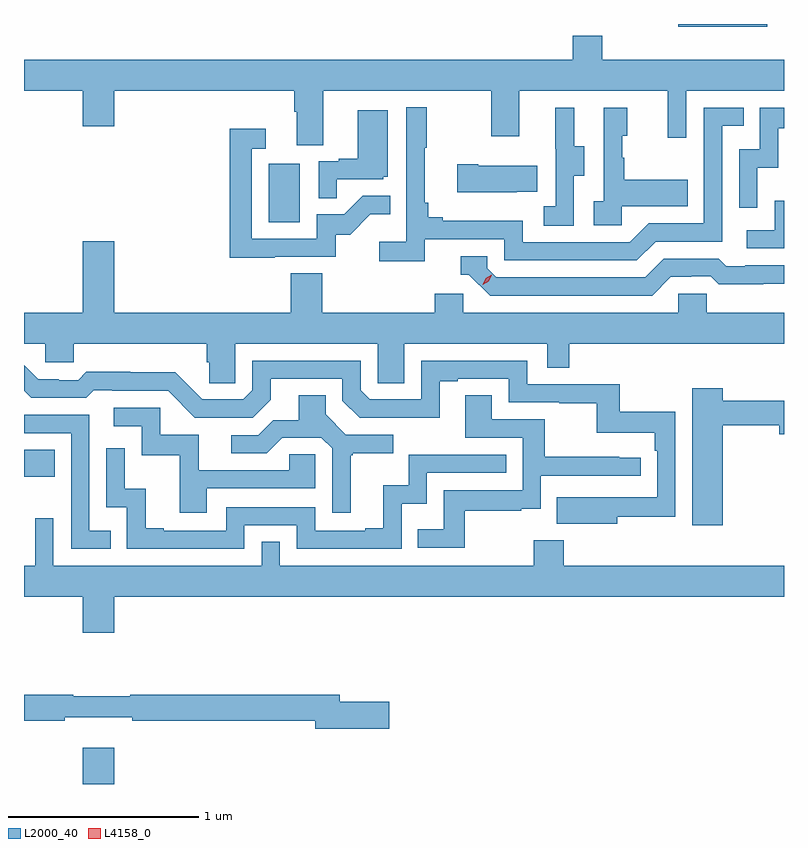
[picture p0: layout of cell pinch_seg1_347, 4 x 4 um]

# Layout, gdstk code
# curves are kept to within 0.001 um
import gdstk
lib = gdstk.Library(unit=1e-6, precision=1e-09)
def R(c, l, rs):  # rectangles x0, y0, x1, y1
    for r in rs: c.add(gdstk.rectangle(r[:2], r[2:], *l))
def P(c, l, *ps):  # polygons
    for p in ps: c.add(gdstk.Polygon(p, *l))
L2000_40 = (2000, 40)
L4158_0 = (4158, 0)

pinch_seg1_347 = lib.new_cell('pinch_seg1_347')
R(pinch_seg1_347, L2000_40, [(956.216,546.751,956.38,546.943), (955.906,548.369,956.069,548.509), (957.194,549.708,957.358,550.015), (959.349,550.736,959.818,550.751)])
P(pinch_seg1_347, L2000_40, [(957.481,550.4),(958.366,550.4),(958.366,550.161),(958.513,550.161),(958.513,550.4),(959.294,550.4),(959.294,550.152),(959.391,550.152),(959.391,550.4),(959.906,550.4),(959.906,550.564),(958.949,550.564),(958.949,550.688),(958.793,550.688),(958.793,550.564),(955.906,550.564),(955.906,550.4),(956.216,550.4),(956.216,550.212),(956.38,550.212),(956.38,550.4),(957.329,550.4),(957.329,550.288),(957.341,550.288),(957.341,550.114),(957.481,550.114)],
  [(958.016,549.618),(958.434,549.618),(958.434,549.507),(959.131,549.507),(959.23,549.606),(959.58,549.606),(959.58,550.215),(959.693,550.215),(959.693,550.311),(959.484,550.311),(959.484,549.702),(959.193,549.702),(959.094,549.603),(958.53,549.603),(958.53,549.715),(958.111,549.715),(958.111,549.734),(958.034,549.734),(958.034,549.811),(958.015,549.811),(958.015,550.099),(958.027,550.099),(958.027,550.312),(957.918,550.312),(957.918,549.604),(957.777,549.604),(957.777,549.502),(958.016,549.502)],
  [(959.766,549.995),(959.876,549.995),(959.876,550.203),(959.906,550.203),(959.906,550.311),(959.778,550.311),(959.778,550.092),(959.67,550.092),(959.67,549.783),(959.766,549.783)],
  [(959.052,549.791),(959.399,549.791),(959.399,549.931),(959.065,549.931),(959.065,550.046),(959.055,550.046),(959.055,550.164),(959.08,550.164),(959.08,550.309),(958.956,550.309),(958.956,549.818),(958.905,549.818),(958.905,549.693),(959.052,549.693)],
  [(958.8,549.952),(958.855,549.952),(958.855,550.107),(958.801,550.107),(958.801,550.309),(958.703,550.309),(958.703,550.095),(958.704,550.095),(958.704,549.791),(958.641,549.791),(958.641,549.688),(958.8,549.688)],
  [(957.551,549.933),(957.798,549.933),(957.798,549.948),(957.82,549.948),(957.82,550.297),(957.662,550.297),(957.662,550.042),(957.563,550.042),(957.563,550.029),(957.456,550.029),(957.456,549.835),(957.551,549.835)],
  [(957.227,549.525),(957.546,549.525),(957.546,549.642),(957.622,549.642),(957.729,549.749),(957.833,549.749),(957.833,549.848),(957.689,549.848),(957.591,549.75),(957.447,549.75),(957.447,549.621),(957.105,549.621),(957.105,550.095),(957.178,550.095),(957.178,550.201),(956.989,550.201),(956.989,549.52),(957.227,549.52)],
  [(958.499,549.869),(958.607,549.869),(958.607,550.006),(958.297,550.006),(958.297,550.014),(958.185,550.014),(958.185,549.866),(958.499,549.866)],
  [(959.906,549.82),(959.856,549.82),(959.856,549.666),(959.709,549.666),(959.709,549.57),(959.906,549.57)],
  [(957.018,549.068),(957.768,549.068),(957.768,548.86),(957.907,548.86),(957.907,549.068),(958.659,549.068),(958.659,548.941),(958.775,548.941),(958.775,549.068),(959.906,549.068),(959.906,549.232),(959.499,549.232),(959.499,549.33),(959.349,549.33),(959.349,549.232),(958.218,549.232),(958.218,549.33),(958.067,549.33),(958.067,549.232),(957.476,549.232),(957.476,549.44),(957.311,549.44),(957.311,549.232),(956.38,549.232),(956.38,549.607),(956.216,549.607),(956.216,549.232),(955.906,549.232),(955.906,549.068),(956.019,549.068),(956.019,548.97),(956.169,548.97),(956.169,549.068),(956.867,549.068),(956.867,548.97),(956.881,548.97),(956.881,548.86),(957.018,548.86)],
  [(959.311,549.42),(959.418,549.42),(959.418,549.423),(959.521,549.423),(959.563,549.381),(959.796,549.381),(959.796,549.383),(959.906,549.383),(959.906,549.48),(959.701,549.48),(959.701,549.477),(959.602,549.477),(959.563,549.516),(959.274,549.516),(959.175,549.417),(958.392,549.417),(958.344,549.465),(958.344,549.528),(958.205,549.528),(958.205,549.432),(958.248,549.432),(958.359,549.321),(959.212,549.321)],
  [(959.029,548.158),(959.334,548.158),(959.334,548.71),(959.041,548.71),(959.041,548.856),(958.554,548.856),(958.554,548.979),(957.996,548.979),(957.996,548.775),(957.726,548.775),(957.678,548.823),(957.678,548.979),(957.108,548.979),(957.108,548.823),(957.06,548.775),(956.844,548.775),(956.702,548.917),(956.466,548.917),(956.466,548.92),(956.233,548.92),(956.191,548.877),(956.088,548.877),(956.088,548.88),(955.981,548.88),(955.906,548.955),(955.906,548.822),(955.944,548.784),(956.233,548.784),(956.272,548.823),(956.371,548.823),(956.371,548.82),(956.664,548.82),(956.805,548.679),(957.111,548.679),(957.205,548.773),(957.205,548.883),(957.582,548.883),(957.582,548.769),(957.672,548.679),(958.093,548.678),(958.093,548.871),(958.189,548.871),(958.189,548.883),(958.458,548.883),(958.458,548.76),(958.723,548.76),(958.723,548.755),(958.92,548.755),(958.92,548.6),(959.225,548.6),(959.225,548.504),(959.238,548.504),(959.238,548.259),(958.711,548.26),(958.711,548.12),(959.029,548.12)],
  [(959.584,548.638),(959.882,548.638),(959.882,548.591),(959.906,548.591),(959.906,548.767),(959.584,548.767),(959.584,548.833),(959.423,548.833),(959.423,548.112),(959.584,548.112)],
  [(958.225,548.19),(958.523,548.19),(958.523,548.201),(958.626,548.201),(958.626,548.373),(959.152,548.373),(959.152,548.469),(959.039,548.469),(959.039,548.474),(958.646,548.474),(958.646,548.67),(958.369,548.67),(958.369,548.798),(958.229,548.798),(958.229,548.574),(958.53,548.574),(958.53,548.298),(958.114,548.298),(958.114,548.092),(957.979,548.092),(957.979,547.995),(958.225,547.995)],
  [(957.625,548.481),(957.637,548.481),(957.637,548.492),(957.85,548.492),(957.85,548.589),(957.6,548.589),(957.493,548.696),(957.493,548.798),(957.353,548.798),(957.353,548.666),(957.218,548.666),(957.138,548.586),(956.997,548.586),(956.997,548.493),(957.184,548.493),(957.265,548.574),(957.471,548.574),(957.528,548.517),(957.528,548.178),(957.625,548.178)],
  [(956.869,548.307),(957.438,548.307),(957.438,548.487),(957.301,548.487),(957.301,548.403),(956.827,548.403),(956.827,548.589),(956.622,548.589),(956.622,548.73),(956.379,548.73),(956.379,548.634),(956.526,548.634),(956.526,548.481),(956.725,548.481),(956.725,548.178),(956.869,548.178)],
  [(956.363,548.085),(956.25,548.085),(956.25,548.694),(955.906,548.694),(955.906,548.598),(956.154,548.598),(956.154,547.989),(956.363,547.989)],
  [(957.066,548.112),(957.342,548.112),(957.342,547.989),(957.894,547.989),(957.894,548.225),(958.026,548.225),(958.026,548.388),(958.445,548.388),(958.445,548.484),(957.93,548.484),(957.93,548.323),(957.797,548.323),(957.797,548.098),(957.701,548.098),(957.701,548.085),(957.438,548.085),(957.438,548.208),(956.97,548.208),(956.97,548.085),(956.641,548.085),(956.641,548.098),(956.546,548.098),(956.546,548.306),(956.436,548.306),(956.436,548.518),(956.34,548.518),(956.34,548.208),(956.448,548.208),(956.448,547.989),(957.066,547.989)],
  [(956.216,547.548),(956.38,547.548),(956.38,547.736),(959.906,547.736),(959.906,547.9),(958.748,547.9),(958.748,548.035),(958.588,548.035),(958.588,547.9),(957.252,547.9),(957.252,548.027),(957.156,548.027),(957.156,547.9),(956.061,547.9),(956.061,548.149),(955.964,548.149),(955.964,547.9),(955.906,547.9),(955.906,547.736),(956.216,547.736)],
  [(957.829,547.184),(957.568,547.184),(957.568,547.22),(956.464,547.22),(956.464,547.213),(956.164,547.213),(956.164,547.22),(955.906,547.22),(955.906,547.084),(956.12,547.084),(956.12,547.103),(956.476,547.103),(956.476,547.084),(957.44,547.084),(957.44,547.042),(957.829,547.042)])
P(pinch_seg1_347, L4158_0, [(958.32,549.379),(958.32,549.38),(958.337,549.412),(958.368,549.431),(958.368,549.431),(958.368,549.431),(958.352,549.398),(958.32,549.379)])

lib.write_gds('pinch_seg1_347.gds')
